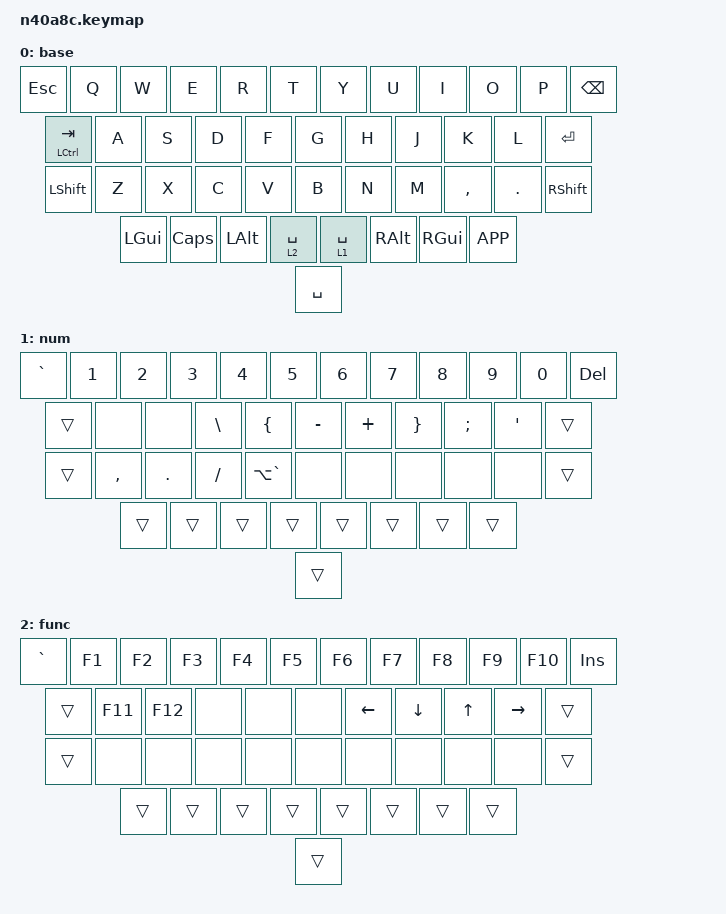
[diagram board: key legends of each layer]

#include <behaviors.dtsi>
#include <dt-bindings/zmk/keys.h>

/ {
    keymap {
        compatible = "zmk,keymap";

        default_layer {
	    display-name = "base";
            bindings =<
                &kp ESC       &kp Q    &kp W &kp E &kp R     &kp T          &kp Y       &kp U    &kp I &kp O     &kp P    &kp BSPC
		&mt LCTRL TAB &kp A    &kp S &kp D &kp F     &kp G          &kp H       &kp J    &kp K &kp L              &kp RET
		&kp LSHIFT    &kp Z    &kp X &kp C &kp V     &kp B                      &kp N    &kp M &kp COMMA &kp DOT  &kp RSHIFT
		&kp LGUI      &kp CAPS             &kp LALT  &lt 2 SPACE    &lt 1 SPACE &kp RALT                 &kp RGUI &kp K_APP
		&kp SPACE
            >;
        };
        num_layer {
	    display-name = "num";
            bindings =<
                &kp GRAVE &kp N1    &kp N2  &kp N3   &kp N4        &kp N5      &kp N6   &kp N7   &kp N8   &kp N9  &kp N0 &kp DEL
		&trans    &none     &none   &kp BSLH &kp LBRC      &kp MINUS   &kp PLUS &kp RBRC &kp SEMI &kp SQT        &trans
		&trans    &kp COMMA &kp DOT &kp FSLH &kp LA(GRAVE) &none                &none    &none    &none   &none  &trans
		&trans    &trans                     &trans        &trans      &trans   &trans                    &trans &trans
		&trans
            >;
        };
        func_layer {
	    display-name = "func";
            bindings =<
                &kp GRAVE &kp F1    &kp F2  &kp F3   &kp F4   &kp F5    &kp F6   &kp F7   &kp F8   &kp F9    &kp F10 &kp INS
		&trans    &kp F11   &kp F12 &none    &none    &none     &kp LEFT &kp DOWN &kp UP   &kp RIGHT         &trans
		&trans    &none     &none   &none    &none    &none              &none    &none    &none     &none   &trans
		&trans    &trans                     &trans   &trans    &trans   &trans                      &trans  &trans
		&trans
            >;
        };
	meta_layer {
	    display-name = "meta";
	    status = "reserved";
	};
    };
};
